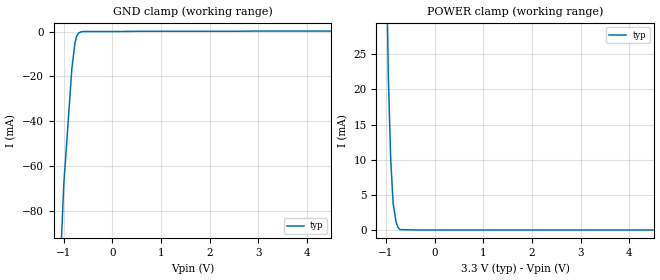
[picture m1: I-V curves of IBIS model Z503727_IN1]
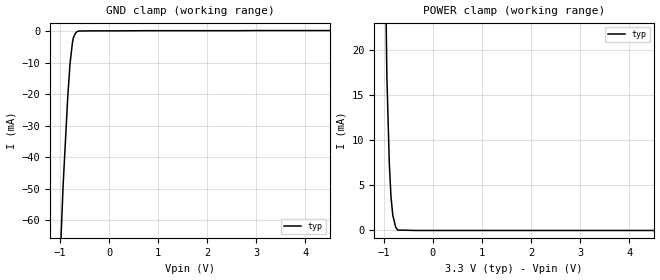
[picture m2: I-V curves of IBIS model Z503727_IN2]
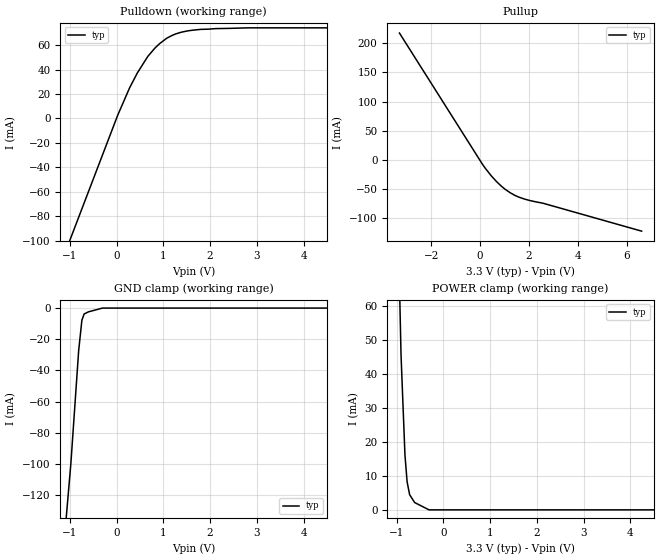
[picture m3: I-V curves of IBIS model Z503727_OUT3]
| YOU ARE ONLY AUTHORIZED TO USE THIS SOFTWARE
| ACCORDING TO LICENSOR'S LICENSE RESTRICTIONS.
[IBIS Ver] 3.1
[File Name] mc74ac139n_33.ibs
[File Rev] 2.0
[Source] Measured and created by ICX Technology
[Date] Friday 7/14/00 9:07:58 AM
[Copyright]
| (C) COPYRIGHT 1993-2000
| MENTOR GRAPHICS CORPORATION
| ICX STANDARD LIBRARY, ICX PROJECT MODELING,
| ICX CUSTOM MODELING, ICX VENDOR MODEL
| ALL RIGHTS RESERVED.
| THE FOLLOWING ARE TRADEMARKS OR SERVICE MARKS OF
| MENTOR GRAPHICS CORPORATION:ICX (R), ICX STANDARD
| LIBRARY(R), ICX PROJECT MODELING(R), ICX CUSTOM
| MODELING(R), qualityIBIS(TM), MODELVIEWER(TM),
| AND MODELEDITOR(TM)
| ALL COPIES OF SOFTWARE, INCLUDING BUT NOT LIMITED TO
| ANY MODIFICATIONS, ENHANCEMENTS OR DERIVATIVE WORKS,
| MUST CONTAIN ALL MENTOR GRAPHICS CORPORATION'S
| NOTICES AND LEGENDS, INCLUDING THOSE EMBEDDED IN
| SOFTWARE AND THOSE AFFIXED TO SOFTWARE MEDIUM
| AND CONTAINER, AS RECEIVED FROM MENTOR GRAPHICS
| CORPORATION.
|  ZAP Model Builder 2.7
[Component] MC74AC139N_33
[Manufacturer] OnSemiconductor
[Package]
| variable   typ   min   max
R_pkg  .212ohms NA NA
L_pkg  4.758nH NA NA
C_pkg  1.143pF NA NA
[Pin] signal_name  model_name  R_pin  L_pin C_pin
1 _G Z503727_IN1 .224 7.258n 1.578p
2 A Z503727_IN2 .216 5.258n 1.288p
3 B Z503727_IN2 .208 3.758n .998p
4 _Y0 Z503727_OUT3 .2 2.758n .708p
5 _Y1 Z503727_OUT3 .2 2.758n .708p
6 _Y2 Z503727_OUT3 .208 3.758n .998p
7 _Y3 Z503727_OUT3 .216 5.258n 1.288p
8 GND GND .224 7.258n 1.578p
9 _Y3 Z503727_OUT3 .224 7.258n 1.578p
10 _Y2 Z503727_OUT3 .216 5.258n 1.288p
11 _Y1 Z503727_OUT3 .208 3.758n .998p
12 _Y0 Z503727_OUT3 .2 2.758n .708p
13 B Z503727_IN2 .2 2.758n .708p
14 A Z503727_IN2 .208 3.758n .998p
15 _G Z503727_IN1 .216 5.258n 1.288p
16 VCC POWER .224 7.258n 1.578p
| Models and submodels in the file (3): Z503727_IN1 (Input), Z503727_IN2 (Input), Z503727_OUT3 (Output)
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| (C) COPYRIGHT 1993-2000
| MENTOR GRAPHICS CORPORATION
| ICX STANDARD LIBRARY, ICX PROJECT MODELING,
| ICX CUSTOM MODELING, ICX VENDOR MODEL
| ALL RIGHTS RESERVED.
| THE FOLLOWING ARE TRADEMARKS OR SERVICE MARKS OF
| MENTOR GRAPHICS CORPORATION:ICX (R), ICX STANDARD
| LIBRARY(R), ICX PROJECT MODELING(R), ICX CUSTOM
| MODELING(R), qualityIBIS(TM), MODELVIEWER(TM),
| AND MODELEDITOR(TM)
| ALL COPIES OF SOFTWARE, INCLUDING BUT NOT LIMITED TO
| ANY MODIFICATIONS, ENHANCEMENTS OR DERIVATIVE WORKS,
| MUST CONTAIN ALL MENTOR GRAPHICS CORPORATION'S
| NOTICES AND LEGENDS, INCLUDING THOSE EMBEDDED IN
| SOFTWARE AND THOSE AFFIXED TO SOFTWARE MEDIUM
| AND CONTAINER, AS RECEIVED FROM MENTOR GRAPHICS
| CORPORATION.
| Model Application Version 1.89 2/18/99.
[Model] Z503727_IN1
Model_type Input
Vinl = 990.0mV
Vinh = 2.310V
C_comp 4.000pF NA NA
| variable typ   min   max
[Voltage Range] 3.300V NA NA
[GND Clamp Reference] 0.000V NA NA
[POWER Clamp Reference] 3.300V NA NA
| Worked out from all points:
|   GND clamp passes 1 mA (typ) near -0.70 V on its own axis
|   POWER clamp passes 1 mA (typ) near -0.79 V on its own axis
[GND Clamp]
-3.3V     -1.07A     NA         NA
-1.173V   -158mA     NA         NA
-994.8mV  -68.01mA   NA         NA
-830.1mV  -16.65mA   NA         NA
-766mV    -4.986mA   NA         NA
-729.7mV  -1.937mA   NA         NA
-686.9mV  -581.1uA   NA         NA
-647.7mV  -127.5uA   NA         NA
6.6V      250uA      NA         NA
[POWER Clamp]
-3.3V     2.214A     NA         NA
-1.145V   140mA      NA         NA
-1.036V   58.43mA    NA         NA
-953mV    21.78mA    NA         NA
-906mV    10.32mA    NA         NA
-855mV    3.826mA    NA         NA
-794mV    1.09mA     NA         NA
-756mV    370uA      NA         NA
-718mV    52.6uA     NA         NA
-359mV    0A         NA         NA
6.6V      0A         NA         NA
| (C) COPYRIGHT 1993-2000
| MENTOR GRAPHICS CORPORATION
| ICX STANDARD LIBRARY, ICX PROJECT MODELING,
| ICX CUSTOM MODELING, ICX VENDOR MODEL
| ALL RIGHTS RESERVED.
| THE FOLLOWING ARE TRADEMARKS OR SERVICE MARKS OF
| MENTOR GRAPHICS CORPORATION:ICX (R), ICX STANDARD
| LIBRARY(R), ICX PROJECT MODELING(R), ICX CUSTOM
| MODELING(R), qualityIBIS(TM), MODELVIEWER(TM),
| AND MODELEDITOR(TM)
| ALL COPIES OF SOFTWARE, INCLUDING BUT NOT LIMITED TO
| ANY MODIFICATIONS, ENHANCEMENTS OR DERIVATIVE WORKS,
| MUST CONTAIN ALL MENTOR GRAPHICS CORPORATION'S
| NOTICES AND LEGENDS, INCLUDING THOSE EMBEDDED IN
| SOFTWARE AND THOSE AFFIXED TO SOFTWARE MEDIUM
| AND CONTAINER, AS RECEIVED FROM MENTOR GRAPHICS
| CORPORATION.
| Model Application Version 1.89 2/18/99.
[Model] Z503727_IN2
Model_type Input
Vinl = 990.0mV
Vinh = 2.310V
C_comp 4.000pF NA NA
| variable typ   min   max
[Voltage Range] 3.300V NA NA
[GND Clamp Reference] 0.000V NA NA
[POWER Clamp Reference] 3.300V NA NA
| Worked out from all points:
|   GND clamp passes 1 mA (typ) near -0.70 V on its own axis
|   POWER clamp passes 1 mA (typ) near -0.79 V on its own axis
[GND Clamp]
-3.3V     -1.226A    NA         NA
-1.006V   -75.01mA   NA         NA
-937.4mV  -48.6mA    NA         NA
-844.7mV  -21.01mA   NA         NA
-798.1mV  -10.37mA   NA         NA
-747mV    -3.405mA   NA         NA
-729.5mV  -2.058mA   NA         NA
-686.6mV  -563.3uA   NA         NA
-647.7mV  -39.53uA   NA         NA
6.6V      238.8uA    NA         NA
[POWER Clamp]
-3.3V     2.045A     NA         NA
-1.129V   119.7mA    NA         NA
-1.036V   57.42mA    NA         NA
-938mV    17.08mA    NA         NA
-889mV    7.508mA    NA         NA
-855mV    3.802mA    NA         NA
-818mV    1.699mA    NA         NA
-757mV    345.5uA    NA         NA
-718mV    48.1uA     NA         NA
-359mV    0A         NA         NA
6.6V      0A         NA         NA
| (C) COPYRIGHT 1993-2000
| MENTOR GRAPHICS CORPORATION
| ICX STANDARD LIBRARY, ICX PROJECT MODELING,
| ICX CUSTOM MODELING, ICX VENDOR MODEL
| ALL RIGHTS RESERVED.
| THE FOLLOWING ARE TRADEMARKS OR SERVICE MARKS OF
| MENTOR GRAPHICS CORPORATION:ICX (R), ICX STANDARD
| LIBRARY(R), ICX PROJECT MODELING(R), ICX CUSTOM
| MODELING(R), qualityIBIS(TM), MODELVIEWER(TM),
| AND MODELEDITOR(TM)
| ALL COPIES OF SOFTWARE, INCLUDING BUT NOT LIMITED TO
| ANY MODIFICATIONS, ENHANCEMENTS OR DERIVATIVE WORKS,
| MUST CONTAIN ALL MENTOR GRAPHICS CORPORATION'S
| NOTICES AND LEGENDS, INCLUDING THOSE EMBEDDED IN
| SOFTWARE AND THOSE AFFIXED TO SOFTWARE MEDIUM
| AND CONTAINER, AS RECEIVED FROM MENTOR GRAPHICS
| CORPORATION.
| Model Application Version 1.89 2/18/99.
[Model] Z503727_OUT3
Model_type Output
Vref=0.000V
Rref=500.0ohms
Cref=50.00pF
Vmeas=1.650V
C_comp 8.000pF NA NA
| variable typ   min   max
[Voltage Range] 3.300V NA NA
[POWER Clamp Reference] 3.300V NA NA
[Pullup Reference] 3.300V NA NA
[Pulldown Reference] 0.000V NA NA
[GND Clamp Reference] 0.000V NA NA
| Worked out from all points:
|   slope of the pulldown table from 0 to 0.495 V, typ, clamps not added: 12.3 ohm
|   slope of the pullup table from 0 to 0.495 V, typ, clamps not added: 17.7 ohm
[GND Clamp]
-3.3V     -911.1mA   NA         NA
-976.6mV  -99.56mA   NA         NA
-810.5mV  -27.38mA   NA         NA
-741.6mV  -7.825mA   NA         NA
-693.2mV  -3.787mA   NA         NA
-600.4mV  -2.412mA   NA         NA
-300.2mV  0A         NA         NA
6.6V      0A         NA         NA
[Pulldown]
-3.3V     -330mA     NA         NA
24.8mV    2.657mA    NA         NA
278.9mV   25.04mA    NA         NA
445.5mV   37.33mA    NA         NA
669.7mV   50.86mA    NA         NA
922.5mV   61.33mA    NA         NA
1.074V    65.73mA    NA         NA
1.191V    68.06mA    NA         NA
1.528V    71.79mA    NA         NA
2.12V     73.6mA     NA         NA
2.822V    74.23mA    NA         NA
6.6V      74.23mA    NA         NA
[Pullup]
-3.3V     217.6mA    NA         NA
92mV      -7.373mA   NA         NA
468mV     -28.03mA   NA         NA
678mV     -37.59mA   NA         NA
1.02V     -50.39mA   NA         NA
1.427V    -61.04mA   NA         NA
1.82V     -67.29mA   NA         NA
2.573V    -74.37mA   NA         NA
6.6V      -122.2mA   NA         NA
[POWER Clamp]
-3.3V     1.914A     NA         NA
-1.044V   131.1mA    NA         NA
-907mV    45.72mA    NA         NA
-823mV    16.2mA     NA         NA
-777mV    8.283mA    NA         NA
-723mV    4.474mA    NA         NA
-616mV    2.16mA     NA         NA
-308mV    0A         NA         NA
6.6V      0A         NA         NA
[Ramp]
| variable typ min max
dV/dt_r 1.934/366.3p NA NA
dV/dt_f 1.934/435.1p NA NA
R_load = 500.0Ohms
